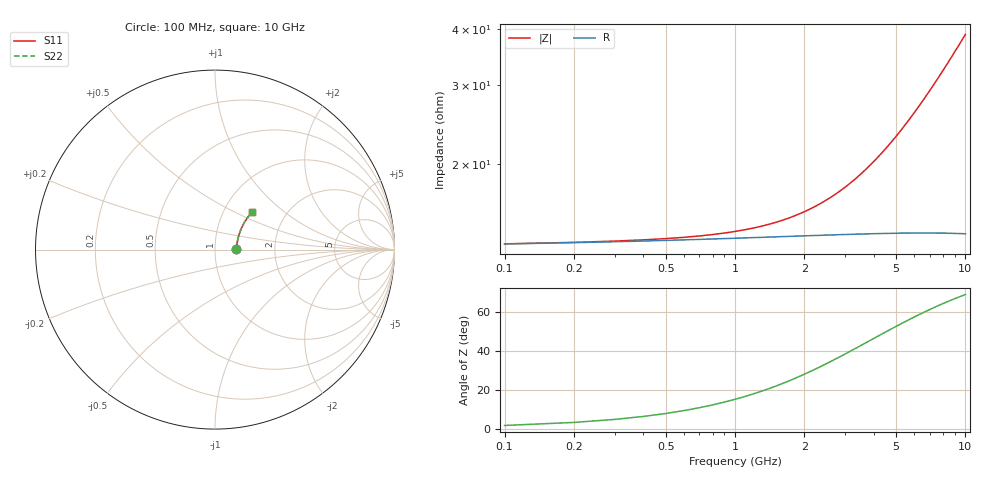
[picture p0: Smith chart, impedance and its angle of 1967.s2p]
# Hz S RI R 50.00
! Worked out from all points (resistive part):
!   100 points, 100 MHz to 10 GHz, reference 50 ohm
!   read as one part in series: R = 13.3 ohm at 100 MHz
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1e8  0.1171 0.00239  0.8829 -0.00332  0.8829 -0.00332  0.1171 0.00239
2e8  0.1178 0.00476  0.8822 -0.00663  0.8822 -0.00663  0.1178 0.00476
7e8  0.1199 0.0166  0.88 -0.0231  0.88 -0.0231  0.1199 0.0166
1e9  0.121 0.0236  0.8789 -0.0329  0.8789 -0.0329  0.121 0.0236
1.2e9  0.1218 0.0283  0.8781 -0.0395  0.8781 -0.0395  0.1218 0.0283
1.4e9  0.1225 0.033  0.8774 -0.046  0.8774 -0.046  0.1225 0.033
1.8e9  0.1242 0.0423  0.8756 -0.0591  0.8756 -0.0591  0.1242 0.0423
2.1e9  0.1255 0.0492  0.8742 -0.0688  0.8742 -0.0688  0.1255 0.0492
2.5e9  0.1275 0.0584  0.8722 -0.0817  0.8722 -0.0817  0.1275 0.0584
2.9e9  0.1298 0.0675  0.8698 -0.0946  0.8698 -0.0946  0.1298 0.0675
3.4e9  0.1328 0.0788  0.8666 -0.1105  0.8666 -0.1105  0.1328 0.0788
4.2e9  0.1386 0.0965  0.8606 -0.1357  0.8606 -0.1357  0.1386 0.0965
5.1e9  0.1461 0.1159  0.8527 -0.1635  0.8527 -0.1635  0.1461 0.1159
5.9e9  0.1538 0.1326  0.8446 -0.1876  0.8446 -0.1876  0.1538 0.1326
6.3e9  0.1579 0.1407  0.8402 -0.1995  0.8402 -0.1995  0.1579 0.1407
6.7e9  0.1623 0.1487  0.8356 -0.2112  0.8356 -0.2112  0.1623 0.1487
7.1e9  0.1669 0.1565  0.8307 -0.2228  0.8307 -0.2228  0.1669 0.1565
7.5e9  0.1717 0.1641  0.8256 -0.2342  0.8256 -0.2342  0.1717 0.1641
7.9e9  0.1767 0.1716  0.8204 -0.2454  0.8204 -0.2454  0.1767 0.1716
8.4e9  0.1832 0.1807  0.8135 -0.2592  0.8135 -0.2592  0.1832 0.1807
9.2e9  0.1942 0.1946  0.8019 -0.2807  0.8019 -0.2807  0.1942 0.1946
1e10  0.2058 0.2078  0.7895 -0.3014  0.7895 -0.3014  0.2058 0.2078
